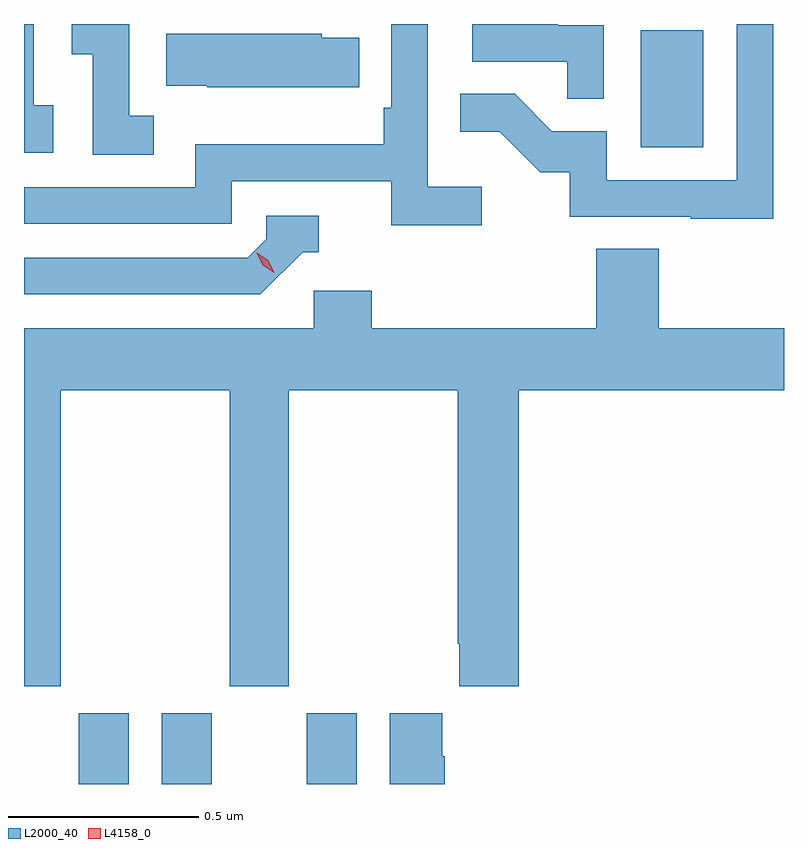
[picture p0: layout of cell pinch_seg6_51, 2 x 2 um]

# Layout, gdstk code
import gdstk
lib = gdstk.Library(unit=1e-6, precision=1e-09)
def R(c, l, rs):  # rectangles x0, y0, x1, y1
    for r in rs: c.add(gdstk.rectangle(r[:2], r[2:], *l))
def P(c, l, *ps):  # polygons
    for p in ps: c.add(gdstk.Polygon(p, *l))
L2000_40 = (2000, 40)
L4158_0 = (4158, 0)

pinch_seg6_51 = lib.new_cell('pinch_seg6_51')
R(pinch_seg6_51, L2000_40, [(988.835,942.304,988.966,942.49), (989.054,942.304,989.185,942.49), (989.435,942.304,989.566,942.49), (990.314,943.98,990.478,944.287)])
P(pinch_seg6_51, L2000_40, [(989.032,944.063),(988.968,944.063),(988.968,944.304),(988.817,944.304),(988.817,944.224),(988.872,944.224),(988.872,943.96),(989.032,943.96)],
  [(990.663,944.304),(990.567,944.304),(990.567,943.893),(990.225,943.893),(990.225,944.022),(990.08,944.022),(989.982,944.12),(989.839,944.12),(989.839,944.021),(989.943,944.021),(990.05,943.914),(990.127,943.914),(990.127,943.797),(990.445,943.797),(990.445,943.792),(990.663,943.792)],
  [(990.216,944.301),(990.095,944.301),(990.095,944.304),(989.87,944.304),(989.87,944.205),(990.121,944.205),(990.121,944.107),(990.216,944.107)],
  [(988.768,944.09),(988.716,944.09),(988.716,944.304),(988.691,944.304),(988.691,943.965),(988.768,943.965)],
  [(989.896,943.876),(989.754,943.876),(989.754,944.304),(989.658,944.304),(989.658,944.083),(989.638,944.083),(989.638,943.987),(989.142,943.987),(989.142,943.875),(988.691,943.875),(988.691,943.779),(989.238,943.779),(989.238,943.89),(989.657,943.89),(989.657,943.774),(989.896,943.774)],
  [(989.573,944.268),(989.475,944.268),(989.475,944.278),(989.065,944.278),(989.065,944.141),(989.173,944.141),(989.173,944.138),(989.573,944.138)],
  [(989.424,943.704),(989.467,943.704),(989.467,943.8),(989.328,943.8),(989.328,943.737),(989.28,943.689),(988.691,943.689),(988.691,943.593),(989.313,943.593)],
  [(988.788,943.34),(989.233,943.34),(989.233,942.561),(989.388,942.561),(989.388,943.34),(989.833,943.34),(989.833,942.673),(989.837,942.673),(989.837,942.561),(989.993,942.561),(989.993,943.34),(990.691,943.34),(990.691,943.504),(990.362,943.504),(990.362,943.712),(990.197,943.712),(990.197,943.504),(989.606,943.504),(989.606,943.602),(989.454,943.602),(989.454,943.504),(988.691,943.504),(988.691,942.561),(988.788,942.561)],
  [(989.798,942.377),(989.791,942.377),(989.791,942.49),(989.654,942.49),(989.654,942.304),(989.798,942.304)])
P(pinch_seg6_51, L4158_0, [(989.349,943.649),(989.319,943.669),(989.303,943.701),(989.303,943.702),(989.303,943.702),(989.334,943.682),(989.349,943.649),(989.349,943.649)])

lib.write_gds('pinch_seg6_51.gds')
